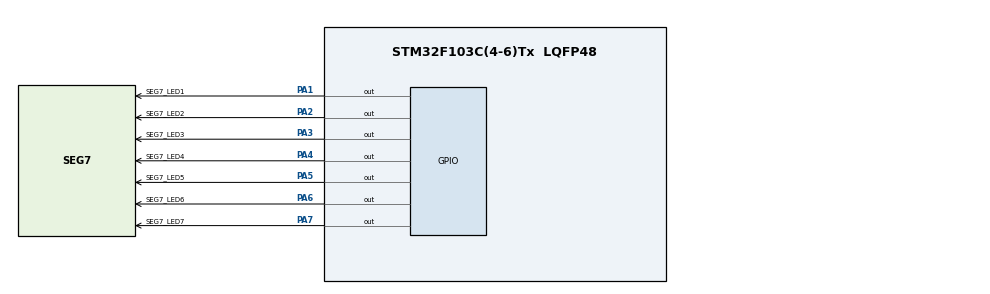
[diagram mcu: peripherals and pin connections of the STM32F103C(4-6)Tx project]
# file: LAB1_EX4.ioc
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Mcu.Family=STM32F1
Mcu.Name=STM32F103C(4-6)Tx
Mcu.Package=LQFP48
NVIC.PriorityGroup=NVIC_PRIORITYGROUP_4
PA1.GPIO_Label=SEG7_LED1
PA1.Signal=GPIO_Output
PA2.GPIO_Label=SEG7_LED2
PA2.Signal=GPIO_Output
PA3.GPIO_Label=SEG7_LED3
PA3.Signal=GPIO_Output
PA4.GPIO_Label=SEG7_LED4
PA4.Signal=GPIO_Output
PA5.GPIO_Label=SEG7_LED5
PA5.Signal=GPIO_Output
PA6.GPIO_Label=SEG7_LED6
PA6.Signal=GPIO_Output
PA7.GPIO_Label=SEG7_LED7
PA7.Signal=GPIO_Output
ProjectManager.HeapSize=0x200
ProjectManager.StackSize=0x400
ProjectManager.TargetToolchain=STM32CubeIDE
RCC.APB1Freq_Value=8000000
RCC.APB2Freq_Value=8000000
board=custom

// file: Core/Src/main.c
/* USER CODE BEGIN Header */
/**
  ******************************************************************************
  * @file           : main.c
  * @brief          : Main program body
  ******************************************************************************
  * @attention
  *
  * Copyright (c) 2024 STMicroelectronics.
  * All rights reserved.
  *
  * This software is licensed under terms that can be found in the LICENSE file
  * in the root directory of this software component.
  * If no LICENSE file comes with this software, it is provided AS-IS.
  *
  ******************************************************************************
  */
/* USER CODE END Header */
#include "main.h"

void SystemClock_Config(void);
static void MX_GPIO_Init(void);
/* USER CODE BEGIN PFP */
void display7SEG(int num );
/* USER CODE END PFP */

int main(void)
{

  /* MCU Configuration--------------------------------------------------------*/

  /* Reset of all peripherals, Initializes the Flash interface and the Systick. */
  HAL_Init();

  /* Configure the system clock */
  SystemClock_Config();

  /* Initialize all configured peripherals */
  MX_GPIO_Init();
  /* USER CODE BEGIN 2 */
  int num =0;
  /* USER CODE END 2 */

  /* Infinite loop */
  while (1)
  {

    /* USER CODE BEGIN 3 */

	  if(num >= 10) num = 0;
	  		  display7SEG(num++);
	  		  HAL_Delay(1000);
  }
  /* USER CODE END 3 */
}

void SystemClock_Config(void)
{
  RCC_OscInitTypeDef RCC_OscInitStruct = {0};
  RCC_ClkInitTypeDef RCC_ClkInitStruct = {0};

  /** Initializes the RCC Oscillators according to the specified parameters
  * in the RCC_OscInitTypeDef structure.
  */
  RCC_OscInitStruct.OscillatorType = RCC_OSCILLATORTYPE_HSI;
  RCC_OscInitStruct.HSIState = RCC_HSI_ON;
  RCC_OscInitStruct.HSICalibrationValue = RCC_HSICALIBRATION_DEFAULT;
  RCC_OscInitStruct.PLL.PLLState = RCC_PLL_NONE;
  if (HAL_RCC_OscConfig(&RCC_OscInitStruct) != HAL_OK)
  {
    Error_Handler();
  }

  /** Initializes the CPU, AHB and APB buses clocks
  */
  RCC_ClkInitStruct.ClockType = RCC_CLOCKTYPE_HCLK|RCC_CLOCKTYPE_SYSCLK
                              |RCC_CLOCKTYPE_PCLK1|RCC_CLOCKTYPE_PCLK2;
  RCC_ClkInitStruct.SYSCLKSource = RCC_SYSCLKSOURCE_HSI;
  RCC_ClkInitStruct.AHBCLKDivider = RCC_SYSCLK_DIV1;
  RCC_ClkInitStruct.APB1CLKDivider = RCC_HCLK_DIV1;
  RCC_ClkInitStruct.APB2CLKDivider = RCC_HCLK_DIV1;

  if (HAL_RCC_ClockConfig(&RCC_ClkInitStruct, FLASH_LATENCY_0) != HAL_OK)
  {
    Error_Handler();
  }
}

static void MX_GPIO_Init(void)
{
  GPIO_InitTypeDef GPIO_InitStruct = {0};

  /* GPIO Ports Clock Enable */
  __HAL_RCC_GPIOA_CLK_ENABLE();

  /*Configure GPIO pin Output Level */
  HAL_GPIO_WritePin(GPIOA, SEG7_LED1_Pin|SEG7_LED2_Pin|SEG7_LED3_Pin|SEG7_LED4_Pin
                          |SEG7_LED5_Pin|SEG7_LED6_Pin|SEG7_LED7_Pin, GPIO_PIN_RESET);

  /*Configure GPIO pins : SEG7_LED1_Pin SEG7_LED2_Pin SEG7_LED3_Pin SEG7_LED4_Pin
                           SEG7_LED5_Pin SEG7_LED6_Pin SEG7_LED7_Pin */
  GPIO_InitStruct.Pin = SEG7_LED1_Pin|SEG7_LED2_Pin|SEG7_LED3_Pin|SEG7_LED4_Pin
                          |SEG7_LED5_Pin|SEG7_LED6_Pin|SEG7_LED7_Pin;
  GPIO_InitStruct.Mode = GPIO_MODE_OUTPUT_PP;
  GPIO_InitStruct.Pull = GPIO_NOPULL;
  GPIO_InitStruct.Speed = GPIO_SPEED_FREQ_LOW;
  HAL_GPIO_Init(GPIOA, &GPIO_InitStruct);

}

/* USER CODE BEGIN 4 */
void display7SEG(int num){
	 uint8_t numbers[10] = {
	        0b00111111, // 0
	        0b00000110, // 1
	        0b01011011, // 2
	        0b01001111, // 3
	        0b01100110, // 4
	        0b01101101, // 5
	        0b01111101, // 6
	        0b00000111, // 7
	        0b01111111, // 8
	        0b01101111, // 9
	    };

	//Xóa man hinh

		GPIOB->ODR =0xFF;
		HAL_Delay(1000);
		if(num>=0 && num<=9){
			GPIOB->ODR = ~numbers[num];
		}
 }
/* USER CODE END 4 */

void Error_Handler(void)
{
  __disable_irq();
  while (1)
  {
  }
}
